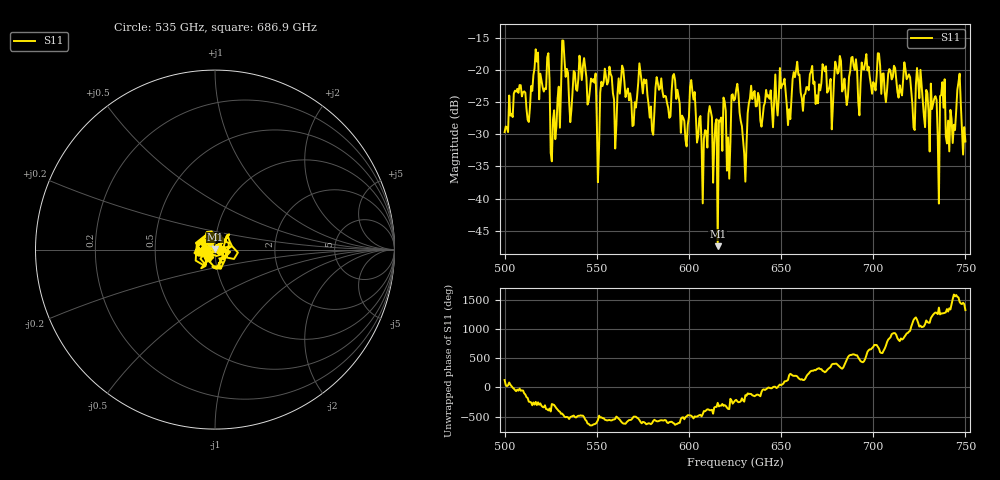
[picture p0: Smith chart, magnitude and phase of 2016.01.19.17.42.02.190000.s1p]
!Created with skrf (http://scikit-rf.org).
# GHz S RI R 50.0
!freq ReS11 ImS11
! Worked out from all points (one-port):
!   401 points, 500 GHz to 750 GHz, reference 50 ohm
!   lowest |S11| = -47.4 dB at 615.6 GHz (marker M1), VSWR 1.01, Z = 50 + j0.424 ohm
!   |S11| at or under -10 dB: start of sweep to end of sweep
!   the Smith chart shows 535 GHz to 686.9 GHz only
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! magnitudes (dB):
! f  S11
! 500 GHz  -29.7
! 513.1 GHz  -28.1
! 516.9 GHz  -16.8
! 523.1 GHz  -18.0
! 526.2 GHz  -27.7
! 531.2 GHz  -15.4
! 548.1 GHz  -21.4
! 551.2 GHz  -31.9
! 553.8 GHz  -21.9
! 560 GHz  -32.2
! 562.5 GHz  -23.7
! 570 GHz  -28.6
! 574.4 GHz  -21.9
! 580 GHz  -29.4
! 593.8 GHz  -23.1
! 615.6 GHz  -47.4
! 621.9 GHz  -36.9
! 625 GHz  -24.5
! 630 GHz  -33.0
! 634.4 GHz  -24.5
! 656.2 GHz  -21.4
! 687.5 GHz  -20.2
! 718.8 GHz  -21.1
! 734.4 GHz  -24.7
! 737.5 GHz  -21.9
! 740.6 GHz  -27.9
! 746.2 GHz  -21.9
! 750 GHz  -31.1
